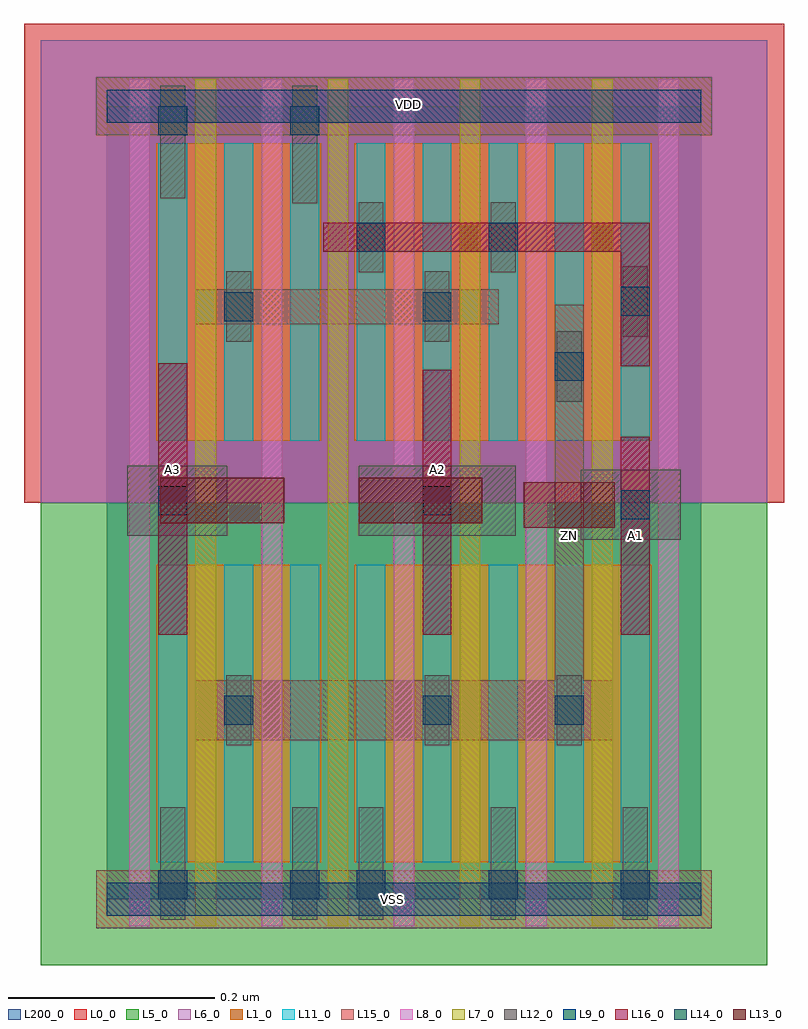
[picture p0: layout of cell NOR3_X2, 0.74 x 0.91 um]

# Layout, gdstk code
import gdstk
lib = gdstk.Library(unit=1e-6, precision=1e-09)
def R(c, l, rs):  # rectangles x0, y0, x1, y1
    for r in rs: c.add(gdstk.rectangle(r[:2], r[2:], *l))
def A(c, l, x, y, w, h, nx, ny, dx, dy):  # array of equal rectangles
    R(c, l, [(x+i*dx, y+j*dy, x+i*dx+w, y+j*dy+h) for i in range(nx) for j in range(ny)])
def P(c, l, *ps):  # polygons
    for p in ps: c.add(gdstk.Polygon(p, *l))
L0_0 = (0, 0)
L1_0 = (1, 0)
L5_0 = (5, 0)
L6_0 = (6, 0)
L7_0 = (7, 0)
L8_0 = (8, 0)
L9_0 = (9, 0)
L11_0 = (11, 0)
L12_0 = (12, 0)
L13_0 = (13, 0)
L14_0 = (14, 0)
L15_0 = (15, 0)
L16_0 = (16, 0)
L200_0 = (200, 0)

nor3_x2 = lib.new_cell('NOR3_X2')
R(nor3_x2, L0_0, [(-0.08,0.384,0.656,0.848)])
R(nor3_x2, L1_0, [(0.048,0.036,0.208,0.324), (0.24,0.036,0.528,0.324), (0.048,0.444,0.208,0.732), (0.24,0.444,0.528,0.732)])
R(nor3_x2, L5_0, [(-0.064,-0.064,0.64,0.384)])
R(nor3_x2, L6_0, [(-0.064,0.384,0.64,0.832)])
A(nor3_x2, L7_0, 0.086, -0.026, 0.02, 0.82, 4, 1, 0.128, 0)
A(nor3_x2, L8_0, 0.022, -0.026, 0.02, 0.82, 5, 1, 0.128, 0)
R(nor3_x2, L9_0, [(0,-0.016,0.576,0.016), (0,0.752,0.576,0.784)])
A(nor3_x2, L11_0, 0.05, 0.036, 0.028, 0.288, 8, 2, 0.064, 0.408)
A(nor3_x2, L12_0, 0.244, -0.02, 0.024, 0.109, 3, 1, 0.128, 0)
R(nor3_x2, L12_0, [(0.052,-0.02,0.076,0.089), (0.18,-0.02,0.204,0.089), (0.116,0.149,0.14,0.217), (0.308,0.149,0.332,0.217), (0.436,0.149,0.46,0.217), (0.459,0.348,0.556,0.416), (0.02,0.352,0.117,0.42), (0.244,0.352,0.396,0.42), (0.436,0.482,0.46,0.55), (0.116,0.54,0.14,0.608), (0.308,0.54,0.332,0.608), (0.5,0.545,0.524,0.613), (0.244,0.607,0.268,0.675), (0.372,0.607,0.396,0.675), (0.18,0.674,0.204,0.788), (0.052,0.679,0.076,0.788)])
R(nor3_x2, L13_0, [(0.404,0.36,0.492,0.404), (0.052,0.364,0.172,0.408), (0.244,0.364,0.364,0.408)])
A(nor3_x2, L14_0, 0.242, 0, 0.028, 0.028, 3, 1, 0.128, 0)
R(nor3_x2, L14_0, [(0.05,0,0.078,0.028), (0.178,0,0.206,0.028), (0.114,0.169,0.142,0.197), (0.306,0.169,0.334,0.197), (0.434,0.169,0.462,0.197), (0.498,0.368,0.526,0.396), (0.05,0.372,0.078,0.4), (0.306,0.372,0.334,0.4), (0.434,0.502,0.462,0.53), (0.114,0.56,0.142,0.588), (0.306,0.56,0.334,0.588), (0.498,0.565,0.526,0.593), (0.242,0.627,0.27,0.655), (0.37,0.627,0.398,0.655), (0.05,0.74,0.078,0.768), (0.178,0.74,0.206,0.768)])
R(nor3_x2, L15_0, [(-0.01,-0.028,0.586,0.028), (0.086,0.557,0.38,0.591), (-0.01,0.74,0.586,0.796)])
P(nor3_x2, L15_0, [(0.086,0.154),(0.49,0.154),(0.49,0.212),(0.462,0.212),(0.462,0.576),(0.434,0.576),(0.434,0.212),(0.086,0.212)])
R(nor3_x2, L16_0, [(0.05,0.256,0.078,0.519), (0.306,0.256,0.334,0.513), (0.498,0.256,0.526,0.448)])
P(nor3_x2, L16_0, [(0.21,0.627),(0.498,0.627),(0.498,0.516),(0.526,0.516),(0.526,0.655),(0.21,0.655)])
R(nor3_x2, L200_0, [(0,0,0.576,0.768)])
nor3_x2.add(gdstk.Label('VSS', (0.277,0), layer=15, texttype=20))
nor3_x2.add(gdstk.Label('ZN', (0.448,0.352), layer=15, texttype=20))
nor3_x2.add(gdstk.Label('VDD', (0.292,0.77), layer=15, texttype=20))
nor3_x2.add(gdstk.Label('A3', (0.064,0.416), layer=16, texttype=20))
nor3_x2.add(gdstk.Label('A2', (0.32,0.416), layer=16, texttype=20))
nor3_x2.add(gdstk.Label('A1', (0.512,0.352), layer=16, texttype=20))

lib.write_gds('NOR3_X2.gds')
